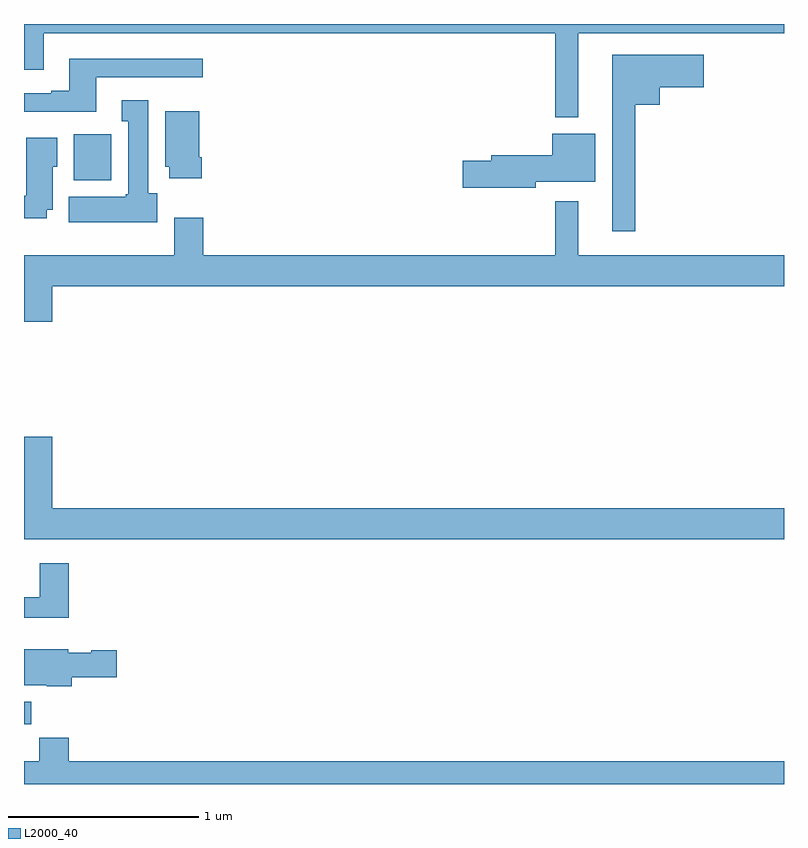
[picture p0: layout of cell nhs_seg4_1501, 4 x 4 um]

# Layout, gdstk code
import gdstk
lib = gdstk.Library(unit=1e-6, precision=1e-09)
def R(c, l, rs):  # rectangles x0, y0, x1, y1
    for r in rs: c.add(gdstk.rectangle(r[:2], r[2:], *l))
def P(c, l, *ps):  # polygons
    for p in ps: c.add(gdstk.Polygon(p, *l))
L2000_40 = (2000, 40)

nhs_seg4_1501 = lib.new_cell('nhs_seg4_1501')
R(nhs_seg4_1501, L2000_40, [(189,761.214,189.038,761.332), (189.263,764.078,189.46,764.32)])
P(nhs_seg4_1501, L2000_40, [(189,764.658),(189.103,764.658),(189.103,764.852),(191.796,764.852),(191.796,764.408),(191.917,764.408),(191.917,764.852),(193,764.852),(193,764.9),(189,764.9)],
  [(192.217,764.474),(192.346,764.474),(192.346,764.567),(192.577,764.567),(192.577,764.737),(192.095,764.737),(192.095,763.809),(192.217,763.809)],
  [(189.379,764.619),(189.94,764.619),(189.94,764.716),(189.239,764.716),(189.239,764.548),(189.143,764.548),(189.143,764.535),(189,764.535),(189,764.438),(189.379,764.438)],
  [(189.7,764.01),(189.655,764.01),(189.655,764.5),(189.515,764.5),(189.515,764.387),(189.548,764.387),(189.548,764.004),(189.535,764.004),(189.535,763.99),(189.236,763.99),(189.236,763.856),(189.7,763.856)],
  [(189.935,764.2),(189.922,764.2),(189.922,764.44),(189.743,764.44),(189.743,764.148),(189.764,764.148),(189.764,764.088),(189.935,764.088)],
  [(191.694,764.069),(192.007,764.069),(192.007,764.323),(191.78,764.323),(191.78,764.21),(191.459,764.21),(191.459,764.18),(191.31,764.18),(191.31,764.038),(191.694,764.038)],
  [(189.121,763.922),(189.151,763.922),(189.151,764.148),(189.175,764.148),(189.175,764.302),(189.011,764.302),(189.011,763.996),(189,763.996),(189,763.878),(189.121,763.878)],
  [(189.148,763.52),(193,763.52),(193,763.684),(191.917,763.684),(191.917,763.966),(191.796,763.966),(191.796,763.684),(189.944,763.684),(189.944,763.879),(189.791,763.879),(189.791,763.684),(189,763.684),(189,763.332),(189.148,763.332)],
  [(193,762.352),(189.148,762.352),(189.148,762.727),(189,762.727),(189,762.188),(193,762.188)],
  [(189.236,762.061),(189.083,762.061),(189.083,761.884),(189,761.884),(189,761.774),(189.236,761.774)],
  [(189.251,761.461),(189.487,761.461),(189.487,761.603),(189.354,761.603),(189.354,761.59),(189.234,761.59),(189.234,761.608),(189,761.608),(189,761.42),(189.12,761.42),(189.12,761.414),(189.251,761.414)],
  [(193,761.02),(189.236,761.02),(189.236,761.144),(189.079,761.144),(189.079,761.02),(189,761.02),(189,760.9),(193,760.9)])

lib.write_gds('nhs_seg4_1501.gds')
